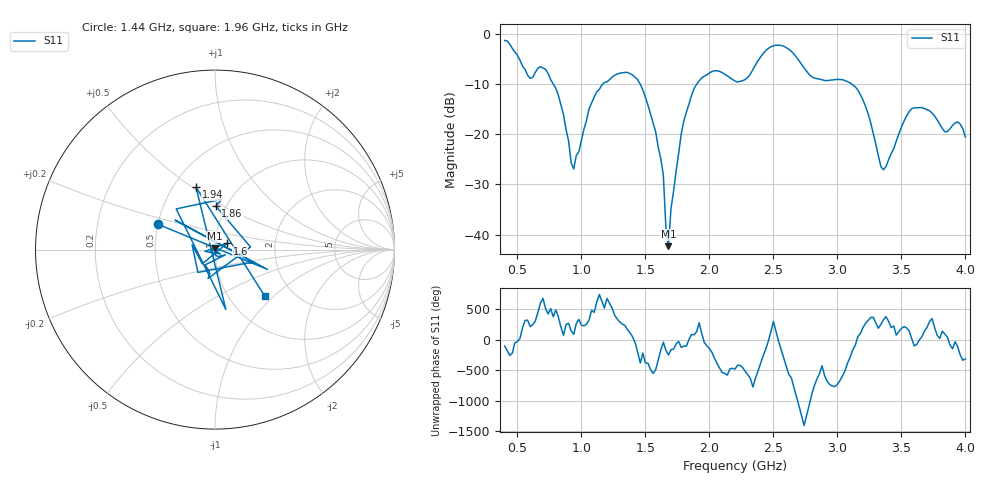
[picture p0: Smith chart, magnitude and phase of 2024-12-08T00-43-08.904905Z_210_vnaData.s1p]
!Created with skrf (http://scikit-rf.org).
# Hz S RI R 50.0
!freq ReS11 ImS11
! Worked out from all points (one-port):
!   181 points, 400 MHz to 4 GHz, reference 50 ohm
!   lowest |S11| = -42.3 dB at 1.68 GHz (marker M1), VSWR 1.02, Z = 49.7 + j0.716 ohm
!   |S11| at or under -10 dB: 779.6 MHz to 1.168 GHz (388.9 MHz wide, 39.9 % of centre); 1.458 GHz to 1.902 GHz (444 MHz wide, 26.4 % of centre); 3.11 GHz to end of sweep
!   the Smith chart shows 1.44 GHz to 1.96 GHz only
!   S11 on the Smith chart (normalised r, x): 1.44 GHz: 0.50, +0.16; 1.6 GHz: 1.14, +0.08; 1.86 GHz: 0.90, +0.46; 1.94 GHz: 0.65, +0.52; 1.96 GHz: 1.45, -0.87
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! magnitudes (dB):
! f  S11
! 400 MHz  -1.4
! 600 MHz  -8.9
! 720 MHz  -7.1
! 860 MHz  -16.1
! 940 MHz  -26.9
! 1.1 GHz  -12.6
! 1.3 GHz  -7.9
! 1.44 GHz  -9.2
! 1.6 GHz  -22.5
! 1.64 GHz  -28.1
! 1.66 GHz  -38.5
! 1.68 GHz  -42.3
! 1.7 GHz  -34.8
! 1.76 GHz  -23.8
! 1.86 GHz  -12.3
! 1.94 GHz  -8.8
! 1.96 GHz  -8.5
! 2.2 GHz  -9.4
! 2.48 GHz  -2.6
! 2.66 GHz  -4.1
! 2.8 GHz  -8.6
! 3.1 GHz  -9.8
! 3.22 GHz  -14.5
! 3.36 GHz  -27.1
! 3.56 GHz  -15.6
! 3.84 GHz  -19.5
! 3.94 GHz  -17.6
! 4 GHz  -20.6
